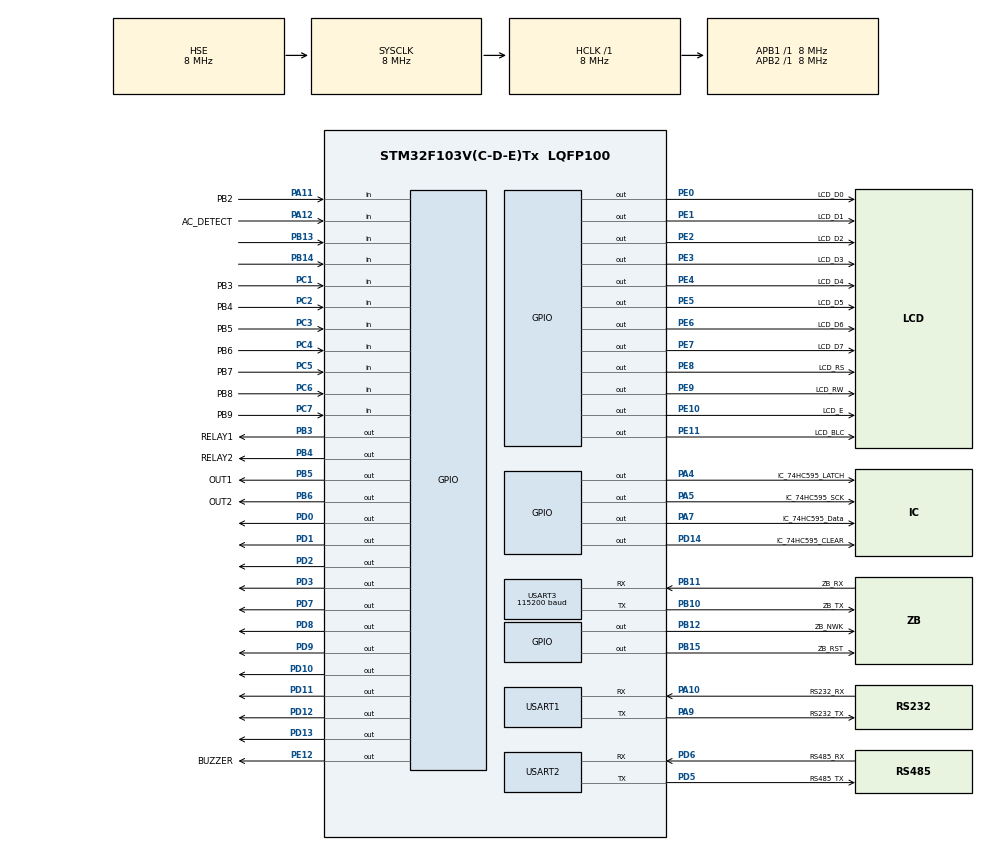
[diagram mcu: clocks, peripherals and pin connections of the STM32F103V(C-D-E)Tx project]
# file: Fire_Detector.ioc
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Mcu.Family=STM32F1
Mcu.Name=STM32F103V(C-D-E)Tx
Mcu.Package=LQFP100
NVIC.PriorityGroup=NVIC_PRIORITYGROUP_4
NVIC.USART3_IRQn=true\:0\:0\:false\:false\:true\:true\:true\:true
OSC_IN.Mode=HSE-External-Oscillator
OSC_IN.Signal=RCC_OSC_IN
OSC_OUT.Mode=HSE-External-Oscillator
OSC_OUT.Signal=RCC_OSC_OUT
PA10.GPIO_Label=RS232_RX
PA10.Mode=Asynchronous
PA10.Signal=USART1_RX
PA11.GPIO_Label=PB2
PA11.Signal=GPIO_Input
PA12.GPIO_Label=AC_DETECT
PA12.Signal=GPIO_Input
PA13.Mode=Serial_Wire
PA13.Signal=SYS_JTMS-SWDIO
PA14.Mode=Serial_Wire
PA14.Signal=SYS_JTCK-SWCLK
PA4.GPIO_Label=IC_74HC595_LATCH
PA4.Signal=GPIO_Output
PA5.GPIO_Label=IC_74HC595_SCK
PA5.Signal=GPIO_Output
PA7.GPIO_Label=IC_74HC595_Data
PA7.Signal=GPIO_Output
PA9.GPIO_Label=RS232_TX
PA9.Mode=Asynchronous
PA9.Signal=USART1_TX
PB10.GPIO_Label=ZB_TX
PB10.Mode=Asynchronous
PB10.Signal=USART3_TX
PB11.GPIO_Label=ZB_RX
PB11.Mode=Asynchronous
PB11.Signal=USART3_RX
PB12.GPIO_Label=ZB_NWK
PB12.PinState=GPIO_PIN_SET
PB12.Signal=GPIO_Output
PB13.Signal=GPIO_Input
PB14.Signal=GPIO_Input
PB15.GPIO_Label=ZB_RST
PB15.PinState=GPIO_PIN_SET
PB15.Signal=GPIO_Output
PB3.GPIO_Label=RELAY1
PB3.Signal=GPIO_Output
PB4.GPIO_Label=RELAY2
PB4.Signal=GPIO_Output
PB5.GPIO_Label=OUT1
PB5.Signal=GPIO_Output
PB6.GPIO_Label=OUT2
PB6.Signal=GPIO_Output
PC1.GPIO_Label=PB3
PC1.Signal=GPIO_Input
PC2.GPIO_Label=PB4
PC2.Signal=GPIO_Input
PC3.GPIO_Label=PB5
PC3.Signal=GPIO_Input
PC4.GPIO_Label=PB6
PC4.Signal=GPIO_Input
PC5.GPIO_Label=PB7
PC5.Signal=GPIO_Input
PC6.GPIO_Label=PB8
PC6.Signal=GPIO_Input
PC7.GPIO_Label=PB9
PC7.Signal=GPIO_Input
PD0.Signal=GPIO_Output
PD1.Signal=GPIO_Output
PD10.Signal=GPIO_Output
PD11.Signal=GPIO_Output
PD12.Signal=GPIO_Output
PD13.Signal=GPIO_Output
PD14.GPIO_Label=IC_74HC595_CLEAR
PD14.Signal=GPIO_Output
PD2.Signal=GPIO_Output
PD3.Signal=GPIO_Output
PD5.GPIO_Label=RS485_TX
PD5.Mode=Asynchronous
PD5.Signal=USART2_TX
PD6.GPIO_Label=RS485_RX
PD6.Mode=Asynchronous
PD6.Signal=USART2_RX
PD7.Signal=GPIO_Output
PD8.Signal=GPIO_Output
PD9.Signal=GPIO_Output
PE0.GPIO_Label=LCD_D0
PE0.GPIO_Speed=GPIO_SPEED_FREQ_HIGH
PE0.Signal=GPIO_Output
PE1.GPIO_Label=LCD_D1
PE1.GPIO_Speed=GPIO_SPEED_FREQ_HIGH
PE1.Signal=GPIO_Output
PE10.GPIO_Label=LCD_E
PE10.GPIO_Speed=GPIO_SPEED_FREQ_HIGH
PE10.Signal=GPIO_Output
PE11.GPIO_Label=LCD_BLC
PE11.GPIO_Speed=GPIO_SPEED_FREQ_HIGH
PE11.Signal=GPIO_Output
PE12.GPIO_Label=BUZZER
PE12.Signal=GPIO_Output
PE2.GPIO_Label=LCD_D2
PE2.GPIO_Speed=GPIO_SPEED_FREQ_HIGH
PE2.Signal=GPIO_Output
PE3.GPIO_Label=LCD_D3
PE3.GPIO_Speed=GPIO_SPEED_FREQ_HIGH
PE3.Signal=GPIO_Output
PE4.GPIO_Label=LCD_D4
PE4.GPIO_Speed=GPIO_SPEED_FREQ_HIGH
PE4.Signal=GPIO_Output
PE5.GPIO_Label=LCD_D5
PE5.GPIO_Speed=GPIO_SPEED_FREQ_HIGH
PE5.Signal=GPIO_Output
PE6.GPIO_Label=LCD_D6
PE6.GPIO_Speed=GPIO_SPEED_FREQ_HIGH
PE6.Signal=GPIO_Output
PE7.GPIO_Label=LCD_D7
PE7.GPIO_Speed=GPIO_SPEED_FREQ_HIGH
PE7.Signal=GPIO_Output
PE8.GPIO_Label=LCD_RS
PE8.GPIO_Speed=GPIO_SPEED_FREQ_HIGH
PE8.Signal=GPIO_Output
PE9.GPIO_Label=LCD_RW
PE9.GPIO_Speed=GPIO_SPEED_FREQ_HIGH
PE9.Signal=GPIO_Output
ProjectManager.HeapSize=0x200
ProjectManager.StackSize=0x400
ProjectManager.TargetToolchain=STM32CubeIDE
RCC.AHBFreq_Value=8000000
RCC.APB1Freq_Value=8000000
RCC.APB1TimFreq_Value=8000000
RCC.APB2Freq_Value=8000000
RCC.APB2TimFreq_Value=8000000
RCC.HCLKFreq_Value=8000000
RCC.PLLMUL=RCC_PLL_MUL4
RCC.SYSCLKFreq_VALUE=8000000
RCC.SYSCLKSource=RCC_SYSCLKSOURCE_HSE
RCC.USBFreq_Value=16000000
USART1.VirtualMode=VM_ASYNC
USART2.VirtualMode=VM_ASYNC
USART3.BaudRate=115200
USART3.VirtualMode=VM_ASYNC
board=custom

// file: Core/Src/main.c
/* USER CODE BEGIN Header */
/**
  ******************************************************************************
  * @file           : main.c
  * @brief          : Main program body
  ******************************************************************************
  * @attention
  *
  * Copyright (c) 2026 STMicroelectronics.
  * All rights reserved.
  *
  * This software is licensed under terms that can be found in the LICENSE file
  * in the root directory of this software component.
  * If no LICENSE file comes with this software, it is provided AS-IS.
  *
  ******************************************************************************
  */
/* USER CODE END Header */
#include "main.h"

/* USER CODE BEGIN Includes */
#include "LED.h"
#include <stdio.h>
#include <string.h>
#include "LCD.h"
#include "bell_and_output.h"
#include "zigbee_e18.h"
/* USER CODE END Includes */

/* USER CODE BEGIN PD */
#define MAX_NODES 30      // Giới hạn số lượng node
/* USER CODE END PD */

UART_HandleTypeDef huart1;
UART_HandleTypeDef huart2;
UART_HandleTypeDef huart3;

/* USER CODE BEGIN PV */

uint8_t pb3_last_state = 1;
uint8_t pb4_last_state = 1;
uint8_t pb5_last_state = 1;

uint8_t joined_nodes = 0; // Biến đếm số thiết bị tham gia mạng
uint8_t joined_mac_list[MAX_NODES][8]; // Mảng lưu trữ 8 byte MAC của từng node
/* USER CODE END PV */

void SystemClock_Config(void);
static void MX_GPIO_Init(void);
static void MX_USART2_UART_Init(void);
static void MX_USART1_UART_Init(void);
static void MX_USART3_UART_Init(void);
/* USER CODE BEGIN PFP */
// Hàm đẩy một dòng chữ lên LCD và tự động cuộn 4 dòng
void LCD_Log(const char* msg) {
    for (int i = 0; i < 3; i++) {
        strncpy(lcd_buffer[i], lcd_buffer[i+1], 20);
    }
    snprintf(lcd_buffer[3], 20, "%-19s", msg);
    LCD_UpdateScreen();
    HAL_Delay(120);
}
void E18_Test(void) {
	// ==============================================================
	      // NÚT PB5: MỞ MẠNG (Cho phép Join trong 180s)
	      // ==============================================================
	      uint8_t pb5_state = HAL_GPIO_ReadPin(PB5_GPIO_Port, PB5_Pin);
	      if (pb5_state == GPIO_PIN_RESET && pb5_last_state == GPIO_PIN_SET) {
	          HAL_Delay(50); // Chống dội phím
	          if (HAL_GPIO_ReadPin(PB5_GPIO_Port, PB5_Pin) == GPIO_PIN_RESET) {
	              LCD_Log("Dang mo mang 180s...");
	              E18_ExecCmd_With_Log(0x00, 0x02, NULL, 0, 1000);
	          }
	      }
	      pb5_last_state = pb5_state;

	      // ==============================================================
	      // NÚT PB3: Nếu đã join mạng thì sẽ thoát mạng, chưa join mạng thì factory rst (Kéo ZB_NWK_Pin xuống LOW 6 giây)
	      // ==============================================================
	      uint8_t pb3_state = HAL_GPIO_ReadPin(PB3_GPIO_Port, PB3_Pin);
	      if (pb3_state == GPIO_PIN_RESET && pb3_last_state == GPIO_PIN_SET) {
	          HAL_Delay(50);
	          if (HAL_GPIO_ReadPin(PB3_GPIO_Port, PB3_Pin) == GPIO_PIN_RESET) {
	              LCD_Log("!! FACTORY RESET !!");
	              LCD_Log("Dang xoa Flash (6s)..");
	              HAL_GPIO_WritePin(ZB_NWK_GPIO_Port, ZB_NWK_Pin, GPIO_PIN_RESET);
	              HAL_Delay(6500); // 6.5s cho an toàn
	              HAL_GPIO_WritePin(ZB_NWK_GPIO_Port, ZB_NWK_Pin, GPIO_PIN_SET);

	              LCD_Log("Rebooting...");
	              HAL_GPIO_WritePin(ZB_RST_GPIO_Port, ZB_RST_Pin, GPIO_PIN_RESET);
	              HAL_Delay(100);
	              HAL_GPIO_WritePin(ZB_RST_GPIO_Port, ZB_RST_Pin, GPIO_PIN_SET);
	              LCD_Log("Reset Hoan Tat!");
	              joined_nodes = 0;
	          }
	      }
	      pb3_last_state = pb3_state;

	      // ==============================================================
	      // NÚT PB4: GỬI BROADCAST (4 Byte)
	      // ==============================================================
	      uint8_t pb4_state = HAL_GPIO_ReadPin(PB4_GPIO_Port, PB4_Pin);
	      if (pb4_state == GPIO_PIN_RESET && pb4_last_state == GPIO_PIN_SET) {
	          HAL_Delay(50);
	          if (HAL_GPIO_ReadPin(PB4_GPIO_Port, PB4_Pin) == GPIO_PIN_RESET) {
	              LCD_Log("Phat Broadcast GW...");
	              uint8_t payload[4] = {0x01, 0xFF, 0x00, 0x00}; // GW mang ID 1, Co Alarm FF
	              E18_Broadcast_Data(payload, 4);
	          }
	      }
	      pb4_last_state = pb4_state;

	      // ==============================================================
	      // QUÉT NHẬN DATA & THÔNG BÁO TỪ NODE
	      // ==============================================================
	      if (E18_Available() >= 5 && rx_buffer[rx_tail] == 0x55) {
	          uint8_t r_len = rx_buffer[(rx_tail + 1) % RX_BUF_SIZE];

	          if (E18_Available() >= r_len + 2) {
	              uint8_t type = rx_buffer[(rx_tail + 2) % RX_BUF_SIZE];
	              uint8_t code = rx_buffer[(rx_tail + 3) % RX_BUF_SIZE];
	              //Cộng thêm node mới vào mạng
	               if (type == 0x80 && code == 0x04) {
	                   // Trích xuất 8 byte MAC Address từ buffer (vị trí 4 -> 11)[cite: 1, 23]
	                  uint8_t incoming_mac[8];
	                  for(int i = 0; i < 8; i++) {
	                     incoming_mac[i] = rx_buffer[(rx_tail + 4 + i) % RX_BUF_SIZE];
	                   }

	                        // Kiểm tra xem địa chỉ MAC này đã tồn tại trong mảng chưa
	                     uint8_t is_exist = 0;
	                     for(int i = 0; i < joined_nodes; i++) {
	                    	 if(memcmp(joined_mac_list[i], incoming_mac, 8) == 0) {
	                    		 is_exist = 1;
	                    		 break;
	                      }
	                   }

	                  // Nếu là MAC mới và chưa vượt quá số lượng tối đa
	                  if(!is_exist && joined_nodes < MAX_NODES) {
	                     memcpy(joined_mac_list[joined_nodes], incoming_mac, 8);
	                     joined_nodes++;

	                     char log_buf[21];
	                     // Hiển thị 2 byte cuối của địa chỉ MAC lên LCD cho gọn
	                     snprintf(log_buf, sizeof(log_buf), "Node IN: %02X%02X", incoming_mac[6], incoming_mac[7]);
	                     LCD_Log(log_buf);
	                     snprintf(log_buf, sizeof(log_buf), "Tong Node: %d", joined_nodes);
	                     LCD_Log(log_buf);
	                  }
	               }
	               // 2. NHẬN THÔNG BÁO NODE CHỦ ĐỘNG RỜI MẠNG (Async Command 0x80 0x06)
	               else if (type == 0x80 && code == 0x06) {
	                   // Trích xuất 8 byte MAC Address của thiết bị vừa rời mạng
	                   uint8_t leaving_mac[8];
	                   for(int i = 0; i < 8; i++) {
	                      leaving_mac[i] = rx_buffer[(rx_tail + 4 + i) % RX_BUF_SIZE];
	                   }

	                    // Tìm kiếm MAC này trong danh sách các node đang kết nối
	                   for(int i = 0; i < joined_nodes; i++) {
	                       if(memcmp(joined_mac_list[i], leaving_mac, 8) == 0) {
	                         // Nếu tìm thấy, tiến hành xóa bằng cách dịch các node phía sau lên
	                         for(int j = i; j < joined_nodes - 1; j++) {
	                            memcpy(joined_mac_list[j], joined_mac_list[j+1], 8);
	                         }
	                         // Cập nhật lại tổng số node
	                         joined_nodes--;

	                        char log_buf[21];
	                        snprintf(log_buf, sizeof(log_buf), "Node OUT: %02X%02X", leaving_mac[6], leaving_mac[7]);
	                        LCD_Log(log_buf);
	                        snprintf(log_buf, sizeof(log_buf), "Tong Node: %d", joined_nodes);
	                        LCD_Log(log_buf);

	                        break; // Thoát vòng lặp tìm kiếm
	                        }
	                    }
	                 }
	              // 2. NHẬN BẢN TIN ZCL TỪ NODE (Async Command 0x82 0x0F)
	              else if (type == 0x82 && code == 0x0F) {
	                  uint8_t data_len = r_len - 14;
	                  if (data_len >= 4) { // Đúng định dạng 4 byte của End Node
	                      uint8_t dev_id = rx_buffer[(rx_tail + 16) % RX_BUF_SIZE];
	                      uint8_t status = rx_buffer[(rx_tail + 17) % RX_BUF_SIZE];
	                      uint8_t alarm  = rx_buffer[(rx_tail + 18) % RX_BUF_SIZE];
	                      uint8_t temp   = rx_buffer[(rx_tail + 19) % RX_BUF_SIZE];

	                      char log_buf[21];
	                      snprintf(log_buf, sizeof(log_buf), "ID%02d S:%02X A:%02X T:%dC", dev_id, status, alarm, temp);
	                      LCD_Log(log_buf);

	                      if (alarm == 0xFF) {
	                          HAL_GPIO_WritePin(BUZZER_PORT, BUZZER_PIN, GPIO_PIN_SET);
	                          HAL_GPIO_WritePin(REL1_PORT, REL1_PIN, GPIO_PIN_SET);
	                      } else {
	                          HAL_GPIO_WritePin(BUZZER_PORT, BUZZER_PIN, GPIO_PIN_RESET);
	                          HAL_GPIO_WritePin(REL1_PORT, REL1_PIN, GPIO_PIN_RESET);
	                      }
	                  }
	              }

	              // Đọc xong thì vứt gói tin đó khỏi bộ đệm
	              for(int i = 0; i < r_len + 2; i++) E18_ReadByte();
	          }
	      } else if (E18_Available() > 0 && rx_buffer[rx_tail] != 0x55) {
	          E18_ReadByte(); // Xóa rác
	      }
}
/* USER CODE END PFP */

int main(void)
{

  /* MCU Configuration--------------------------------------------------------*/

  /* Reset of all peripherals, Initializes the Flash interface and the Systick. */
  HAL_Init();

  /* Configure the system clock */
  SystemClock_Config();

  /* Initialize all configured peripherals */
  MX_GPIO_Init();
  MX_USART2_UART_Init();
  MX_USART1_UART_Init();
  MX_USART3_UART_Init();
  /* USER CODE BEGIN 2 */
  LCD_Init();
  LCD_Backlight(1);
  LCD_Log("--- FIRE ALARM GW ---");

  HAL_UART_Receive_IT(&huart3, &rx_byte, 1);

    // Đầu tiên: Cấu hình Gateway
  E18_Gateway_Init();

  /* USER CODE END 2 */

  /* Infinite loop */
    while (1)
    {

    /* USER CODE BEGIN 3 */
    	E18_Test();
  }
  /* USER CODE END 3 */
}

void SystemClock_Config(void)
{
  RCC_OscInitTypeDef RCC_OscInitStruct = {0};
  RCC_ClkInitTypeDef RCC_ClkInitStruct = {0};

  /** Initializes the RCC Oscillators according to the specified parameters
  * in the RCC_OscInitTypeDef structure.
  */
  RCC_OscInitStruct.OscillatorType = RCC_OSCILLATORTYPE_HSE;
  RCC_OscInitStruct.HSEState = RCC_HSE_ON;
  RCC_OscInitStruct.PLL.PLLState = RCC_PLL_NONE;
  if (HAL_RCC_OscConfig(&RCC_OscInitStruct) != HAL_OK)
  {
    Error_Handler();
  }

  /** Initializes the CPU, AHB and APB buses clocks
  */
  RCC_ClkInitStruct.ClockType = RCC_CLOCKTYPE_HCLK|RCC_CLOCKTYPE_SYSCLK
                              |RCC_CLOCKTYPE_PCLK1|RCC_CLOCKTYPE_PCLK2;
  RCC_ClkInitStruct.SYSCLKSource = RCC_SYSCLKSOURCE_HSE;
  RCC_ClkInitStruct.AHBCLKDivider = RCC_SYSCLK_DIV1;
  RCC_ClkInitStruct.APB1CLKDivider = RCC_HCLK_DIV1;
  RCC_ClkInitStruct.APB2CLKDivider = RCC_HCLK_DIV1;

  if (HAL_RCC_ClockConfig(&RCC_ClkInitStruct, FLASH_LATENCY_0) != HAL_OK)
  {
    Error_Handler();
  }
}

static void MX_USART1_UART_Init(void)
{

  huart1.Instance = USART1;
  huart1.Init.BaudRate = 115200;
  huart1.Init.WordLength = UART_WORDLENGTH_8B;
  huart1.Init.StopBits = UART_STOPBITS_1;
  huart1.Init.Parity = UART_PARITY_NONE;
  huart1.Init.Mode = UART_MODE_TX_RX;
  huart1.Init.HwFlowCtl = UART_HWCONTROL_NONE;
  huart1.Init.OverSampling = UART_OVERSAMPLING_16;
  if (HAL_UART_Init(&huart1) != HAL_OK)
  {
    Error_Handler();
  }

}

static void MX_USART2_UART_Init(void)
{

  huart2.Instance = USART2;
  huart2.Init.BaudRate = 115200;
  huart2.Init.WordLength = UART_WORDLENGTH_8B;
  huart2.Init.StopBits = UART_STOPBITS_1;
  huart2.Init.Parity = UART_PARITY_NONE;
  huart2.Init.Mode = UART_MODE_TX_RX;
  huart2.Init.HwFlowCtl = UART_HWCONTROL_NONE;
  huart2.Init.OverSampling = UART_OVERSAMPLING_16;
  if (HAL_UART_Init(&huart2) != HAL_OK)
  {
    Error_Handler();
  }

}

static void MX_USART3_UART_Init(void)
{

  huart3.Instance = USART3;
  huart3.Init.BaudRate = 115200;
  huart3.Init.WordLength = UART_WORDLENGTH_8B;
  huart3.Init.StopBits = UART_STOPBITS_1;
  huart3.Init.Parity = UART_PARITY_NONE;
  huart3.Init.Mode = UART_MODE_TX_RX;
  huart3.Init.HwFlowCtl = UART_HWCONTROL_NONE;
  huart3.Init.OverSampling = UART_OVERSAMPLING_16;
  if (HAL_UART_Init(&huart3) != HAL_OK)
  {
    Error_Handler();
  }

}

static void MX_GPIO_Init(void)
{
  GPIO_InitTypeDef GPIO_InitStruct = {0};

  /* GPIO Ports Clock Enable */
  __HAL_RCC_GPIOE_CLK_ENABLE();
  __HAL_RCC_GPIOC_CLK_ENABLE();
  __HAL_RCC_GPIOA_CLK_ENABLE();
  __HAL_RCC_GPIOB_CLK_ENABLE();
  __HAL_RCC_GPIOD_CLK_ENABLE();

  /*Configure GPIO pin Output Level */
  HAL_GPIO_WritePin(GPIOE, LCD_D2_Pin|LCD_D3_Pin|LCD_D4_Pin|LCD_D5_Pin
                          |LCD_D6_Pin|LCD_D7_Pin|LCD_RS_Pin|LCD_RW_Pin
                          |LCD_E_Pin|LCD_BLC_Pin|BUZZER_Pin|LCD_D0_Pin
                          |LCD_D1_Pin, GPIO_PIN_RESET);

  /*Configure GPIO pin Output Level */
  HAL_GPIO_WritePin(GPIOA, IC_74HC595_LATCH_Pin|IC_74HC595_SCK_Pin|IC_74HC595_Data_Pin, GPIO_PIN_RESET);

  /*Configure GPIO pin Output Level */
  HAL_GPIO_WritePin(GPIOB, ZB_NWK_Pin|ZB_RST_Pin, GPIO_PIN_SET);

  /*Configure GPIO pin Output Level */
  HAL_GPIO_WritePin(GPIOD, GPIO_PIN_8|GPIO_PIN_9|GPIO_PIN_10|GPIO_PIN_11
                          |GPIO_PIN_12|GPIO_PIN_13|IC_74HC595_CLEAR_Pin|GPIO_PIN_0
                          |GPIO_PIN_1|GPIO_PIN_2|GPIO_PIN_3|GPIO_PIN_7, GPIO_PIN_RESET);

  /*Configure GPIO pin Output Level */
  HAL_GPIO_WritePin(GPIOB, RELAY1_Pin|RELAY2_Pin|OUT1_Pin|OUT2_Pin, GPIO_PIN_RESET);

  /*Configure GPIO pins : LCD_D2_Pin LCD_D3_Pin LCD_D4_Pin LCD_D5_Pin
                           LCD_D6_Pin LCD_D7_Pin LCD_RS_Pin LCD_RW_Pin
                           LCD_E_Pin LCD_BLC_Pin LCD_D0_Pin LCD_D1_Pin */
  GPIO_InitStruct.Pin = LCD_D2_Pin|LCD_D3_Pin|LCD_D4_Pin|LCD_D5_Pin
                          |LCD_D6_Pin|LCD_D7_Pin|LCD_RS_Pin|LCD_RW_Pin
                          |LCD_E_Pin|LCD_BLC_Pin|LCD_D0_Pin|LCD_D1_Pin;
  GPIO_InitStruct.Mode = GPIO_MODE_OUTPUT_PP;
  GPIO_InitStruct.Pull = GPIO_NOPULL;
  GPIO_InitStruct.Speed = GPIO_SPEED_FREQ_HIGH;
  HAL_GPIO_Init(GPIOE, &GPIO_InitStruct);

  /*Configure GPIO pins : PB3_Pin PB4_Pin PB5_Pin PB6_Pin
                           PB7_Pin PB8_Pin PB9_Pin */
  GPIO_InitStruct.Pin = PB3_Pin|PB4_Pin|PB5_Pin|PB6_Pin
                          |PB7_Pin|PB8_Pin|PB9_Pin;
  GPIO_InitStruct.Mode = GPIO_MODE_INPUT;
  GPIO_InitStruct.Pull = GPIO_NOPULL;
  HAL_GPIO_Init(GPIOC, &GPIO_InitStruct);

  /*Configure GPIO pins : IC_74HC595_LATCH_Pin IC_74HC595_SCK_Pin IC_74HC595_Data_Pin */
  GPIO_InitStruct.Pin = IC_74HC595_LATCH_Pin|IC_74HC595_SCK_Pin|IC_74HC595_Data_Pin;
  GPIO_InitStruct.Mode = GPIO_MODE_OUTPUT_PP;
  GPIO_InitStruct.Pull = GPIO_NOPULL;
  GPIO_InitStruct.Speed = GPIO_SPEED_FREQ_LOW;
  HAL_GPIO_Init(GPIOA, &GPIO_InitStruct);

  /*Configure GPIO pin : BUZZER_Pin */
  GPIO_InitStruct.Pin = BUZZER_Pin;
  GPIO_InitStruct.Mode = GPIO_MODE_OUTPUT_PP;
  GPIO_InitStruct.Pull = GPIO_NOPULL;
  GPIO_InitStruct.Speed = GPIO_SPEED_FREQ_LOW;
  HAL_GPIO_Init(BUZZER_GPIO_Port, &GPIO_InitStruct);

  /*Configure GPIO pins : ZB_NWK_Pin ZB_RST_Pin RELAY1_Pin RELAY2_Pin
                           OUT1_Pin OUT2_Pin */
  GPIO_InitStruct.Pin = ZB_NWK_Pin|ZB_RST_Pin|RELAY1_Pin|RELAY2_Pin
                          |OUT1_Pin|OUT2_Pin;
  GPIO_InitStruct.Mode = GPIO_MODE_OUTPUT_PP;
  GPIO_InitStruct.Pull = GPIO_NOPULL;
  GPIO_InitStruct.Speed = GPIO_SPEED_FREQ_LOW;
  HAL_GPIO_Init(GPIOB, &GPIO_InitStruct);

  /*Configure GPIO pins : PB13 PB14 */
  GPIO_InitStruct.Pin = GPIO_PIN_13|GPIO_PIN_14;
  GPIO_InitStruct.Mode = GPIO_MODE_INPUT;
  GPIO_InitStruct.Pull = GPIO_NOPULL;
  HAL_GPIO_Init(GPIOB, &GPIO_InitStruct);

  /*Configure GPIO pins : PD8 PD9 PD10 PD11
                           PD12 PD13 IC_74HC595_CLEAR_Pin PD0
                           PD1 PD2 PD3 PD7 */
  GPIO_InitStruct.Pin = GPIO_PIN_8|GPIO_PIN_9|GPIO_PIN_10|GPIO_PIN_11
                          |GPIO_PIN_12|GPIO_PIN_13|IC_74HC595_CLEAR_Pin|GPIO_PIN_0
                          |GPIO_PIN_1|GPIO_PIN_2|GPIO_PIN_3|GPIO_PIN_7;
  GPIO_InitStruct.Mode = GPIO_MODE_OUTPUT_PP;
  GPIO_InitStruct.Pull = GPIO_NOPULL;
  GPIO_InitStruct.Speed = GPIO_SPEED_FREQ_LOW;
  HAL_GPIO_Init(GPIOD, &GPIO_InitStruct);

  /*Configure GPIO pins : PB2_Pin AC_DETECT_Pin */
  GPIO_InitStruct.Pin = PB2_Pin|AC_DETECT_Pin;
  GPIO_InitStruct.Mode = GPIO_MODE_INPUT;
  GPIO_InitStruct.Pull = GPIO_NOPULL;
  HAL_GPIO_Init(GPIOA, &GPIO_InitStruct);

}

void Error_Handler(void)
{
  __disable_irq();
  while (1)
  {
  }
}
